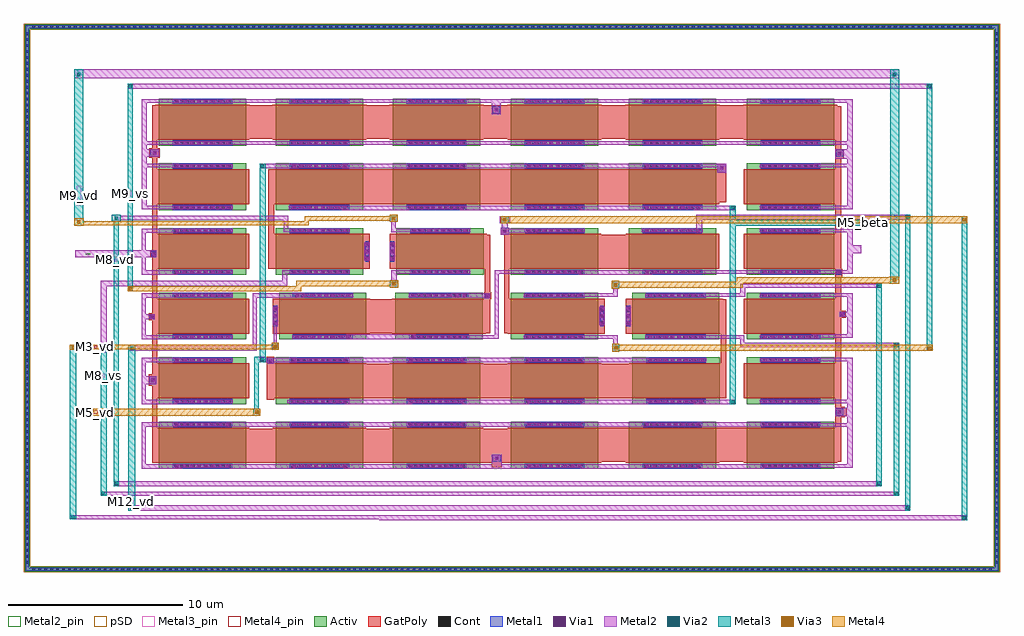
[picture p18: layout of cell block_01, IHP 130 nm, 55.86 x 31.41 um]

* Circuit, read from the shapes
.subckt block_01 M12_vd M3_vd M5_beta M5_vd M8_vd M8_vs M9_vd M9_vs vss
XM1 vss vss vss VSUBS sg13_lv_nmos w=5u l=2u m=20
XM2 M5_vd M5_vd M5_beta VSUBS sg13_lv_nmos w=5u l=2u m=8
XM3 M8_vd M5_vd M8_vs VSUBS sg13_lv_nmos w=5u l=2u m=2
XM4 M12_vd M3_vd vss VSUBS sg13_lv_nmos w=5u l=2u m=2
XM5 M3_vd M3_vd vss VSUBS sg13_lv_nmos w=5u l=2u m=2
XM6 M9_vd M3_vd M9_vs VSUBS sg13_lv_nmos w=5u l=2u m=2
.ends

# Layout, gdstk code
from math import pi, radians
import gdstk
lib = gdstk.Library(unit=1e-6, precision=1e-09)
def R(c, l, rs):  # rectangles x0, y0, x1, y1
    for r in rs: c.add(gdstk.rectangle(r[:2], r[2:], *l))
def A(c, l, x, y, w, h, nx, ny, dx, dy):  # array of equal rectangles
    R(c, l, [(x+i*dx, y+j*dy, x+i*dx+w, y+j*dy+h) for i in range(nx) for j in range(ny)])
Activ = (1, 0)
GatPoly = (5, 0)
Cont = (6, 0)
Metal1 = (8, 0)
Metal2 = (10, 0)
Metal2_pin = (10, 2)
pSD = (14, 0)
Via1 = (19, 0)
Via2 = (29, 0)
Metal3 = (30, 0)
Metal3_pin = (30, 2)
Via3 = (49, 0)
Metal4 = (50, 0)
Metal4_pin = (50, 2)

sg13_lv_nmos_k9lmzd = lib.new_cell('sg13_lv_nmos_K9LMZD')
R(sg13_lv_nmos_k9lmzd, Activ, [(-1.34,-2.5,1.34,2.5)])
R(sg13_lv_nmos_k9lmzd, GatPoly, [(-1,-2.68,1,2.68)])
A(sg13_lv_nmos_k9lmzd, Cont, -1.27, -1.61, 0.16, 0.16, 1, 10, 0, 0.34)
A(sg13_lv_nmos_k9lmzd, Cont, 1.11, -1.61, 0.16, 0.16, 1, 10, 0, 0.34)
R(sg13_lv_nmos_k9lmzd, Metal1, [(-1.34,-1.705,-1.04,1.705), (1.04,-1.705,1.34,1.705)])
R(sg13_lv_nmos_k9lmzd, Metal2, [(-1.29,-1.745,-1.09,1.745), (1.09,-1.745,1.29,1.745)])
A(sg13_lv_nmos_k9lmzd, Via1, -1.285, -1.53, 0.19, 0.19, 1, 8, 0, 0.41)
A(sg13_lv_nmos_k9lmzd, Via1, 1.095, -1.53, 0.19, 0.19, 1, 8, 0, 0.41)
sg13_lv_nmos_k9lmzd.add(gdstk.Label('D', (-1.19,0), layer=8, texttype=25))
sg13_lv_nmos_k9lmzd.add(gdstk.Label('S', (1.19,0), layer=8, texttype=25))

sg13_lv_nmos_k94wzd = lib.new_cell('sg13_lv_nmos_K94WZD')
R(sg13_lv_nmos_k94wzd, Activ, [(-1.34,-2.405,1.34,2.595)])
R(sg13_lv_nmos_k94wzd, GatPoly, [(-1,-2.775,1,2.775)])
A(sg13_lv_nmos_k94wzd, Cont, -0.42, -2.705, 0.16, 0.16, 3, 1, 0.34, 0)
A(sg13_lv_nmos_k94wzd, Cont, -1.27, -1.515, 0.16, 0.16, 1, 10, 0, 0.34)
A(sg13_lv_nmos_k94wzd, Cont, 1.11, -1.515, 0.16, 0.16, 1, 10, 0, 0.34)
R(sg13_lv_nmos_k94wzd, Metal1, [(-0.585,-2.73,0.585,-2.52), (-1.34,-1.61,-1.04,1.8), (1.04,-1.61,1.34,1.8)])
R(sg13_lv_nmos_k94wzd, Metal2, [(-0.535,-2.77,0.535,-2.48), (-1.29,-1.65,-1.09,1.84), (1.09,-1.65,1.29,1.84)])
A(sg13_lv_nmos_k94wzd, Via1, -0.505, -2.72, 0.19, 0.19, 3, 1, 0.41, 0)
A(sg13_lv_nmos_k94wzd, Via1, -1.285, -1.435, 0.19, 0.19, 1, 8, 0, 0.41)
A(sg13_lv_nmos_k94wzd, Via1, 1.095, -1.435, 0.19, 0.19, 1, 8, 0, 0.41)
sg13_lv_nmos_k94wzd.add(gdstk.Label('D', (-1.19,0.095), layer=8, texttype=25))
sg13_lv_nmos_k94wzd.add(gdstk.Label('S', (1.19,0.095), layer=8, texttype=25))
sg13_lv_nmos_k94wzd.add(gdstk.Label('G', (0,-2.625), layer=8, texttype=25))

sg13_lv_nmos_k9ld4e = lib.new_cell('sg13_lv_nmos_K9LD4E')
R(sg13_lv_nmos_k9ld4e, Activ, [(-1.34,-2.595,1.34,2.405)])
R(sg13_lv_nmos_k9ld4e, GatPoly, [(-1,-2.775,1,2.775)])
A(sg13_lv_nmos_k9ld4e, Cont, -1.27, -1.705, 0.16, 0.16, 1, 10, 0, 0.34)
A(sg13_lv_nmos_k9ld4e, Cont, 1.11, -1.705, 0.16, 0.16, 1, 10, 0, 0.34)
A(sg13_lv_nmos_k9ld4e, Cont, -0.42, 2.545, 0.16, 0.16, 3, 1, 0.34, 0)
R(sg13_lv_nmos_k9ld4e, Metal1, [(-1.34,-1.8,-1.04,1.61), (1.04,-1.8,1.34,1.61), (-0.585,2.52,0.585,2.73)])
R(sg13_lv_nmos_k9ld4e, Metal2, [(-1.29,-1.84,-1.09,1.65), (1.09,-1.84,1.29,1.65), (-0.535,2.48,0.535,2.77)])
A(sg13_lv_nmos_k9ld4e, Via1, -1.285, -1.625, 0.19, 0.19, 1, 8, 0, 0.41)
A(sg13_lv_nmos_k9ld4e, Via1, 1.095, -1.625, 0.19, 0.19, 1, 8, 0, 0.41)
A(sg13_lv_nmos_k9ld4e, Via1, -0.505, 2.53, 0.19, 0.19, 3, 1, 0.41, 0)
sg13_lv_nmos_k9ld4e.add(gdstk.Label('D', (-1.19,-0.095), layer=8, texttype=25))
sg13_lv_nmos_k9ld4e.add(gdstk.Label('S', (1.19,-0.095), layer=8, texttype=25))
sg13_lv_nmos_k9ld4e.add(gdstk.Label('G', (0,2.625), layer=8, texttype=25))

block_01 = lib.new_cell('block_01')
R(block_01, Activ, [(-37.2,-29.35,18.6,-29.05), (-37.2,-29.05,-36.9,1.7), (18.3,-29.05,18.6,1.7), (-37.2,1.7,18.6,2)])
A(block_01, GatPoly, -24.45, -23.1, 1.6, 1.95, 3, 1, 6.7, 0)
A(block_01, GatPoly, -11.05, -4.55, 1.65, 1.9, 3, 1, 6.75, 0)
R(block_01, GatPoly, [(-10.45,-23.35,-9.9,-23.1), (-29.9,-23.1,-29.6,-18.7), (-4.3,-23.05,-2.7,-21.1), (2.45,-23.05,4.05,-21.1), (9.2,-23.05,9.55,-20.5), (9.2,-20.5,9.75,-20.45), (9.2,-20.45,9.85,-19.95), (9.2,-19.95,9.75,-19.9), (9.2,-19.9,9.55,-14.8), (-23.35,-19.5,-22.9,-17.05), (-17.75,-19.4,-16.15,-17.45), (-11.05,-19.4,-9.4,-17.45), (-4.3,-19.4,-2.5,-17.45), (2.65,-19.4,2.95,-13.75), (-30.1,-18.7,-29.6,-18.05), (-29.9,-18.05,-29.6,-14.95), (-17.55,-15.7,-16,-13.75), (-10.85,-15.7,-10.55,-13.75), (-9.75,-15.7,-9.45,-10.05), (-30.1,-14.95,-29.6,-14.55), (9.2,-14.8,9.8,-14.4), (-29.9,-14.55,-29.6,-11.35), (9.2,-14.4,9.55,-12.45), (-10.9,-13.75,-10.5,-13.35), (-10.85,-13.35,-10.55,-10.05), (9.2,-12.45,9.6,-12), (-23.25,-12,-22.9,-6.3), (-4.3,-12,-2.7,-10.05), (9.2,-12,9.55,-5.7), (-30,-11.35,-29.6,-10.95), (-29.9,-10.95,-29.6,-5.65), (-9.95,-10.05,-9.45,-9.65), (-17.75,-8.3,-16.2,-6.3), (-11.05,-8.3,-9.45,-6.3), (-4.25,-8.3,-2.7,-6.3), (2.45,-8.2,2.95,-6), (9.2,-5.7,9.7,-5.15), (-30.05,-5.65,-29.45,-5.1), (9.2,-5.15,9.55,-2.7), (-29.9,-5.1,-29.6,-2.65), (-24.4,-4.55,-22.9,-2.65), (-17.75,-4.55,-16.1,-2.65)])
A(block_01, Cont, -36.75, -29.28, 0.16, 0.16, 162, 2, 0.34, 31.05)
A(block_01, Cont, -37.13, -28.885, 0.16, 0.16, 1, 90, 0, 0.34)
A(block_01, Cont, 18.37, -28.885, 0.16, 0.16, 1, 90, 0, 0.34)
R(block_01, Cont, [(-10.255,-22.93,-10.095,-22.77), (9.37,-20.28,9.53,-20.12), (-29.93,-18.455,-29.77,-18.295), (-23.205,-17.355,-23.045,-17.195), (-29.98,-14.83,-29.82,-14.67), (9.52,-14.68,9.68,-14.52), (-10.78,-13.63,-10.62,-13.47), (9.32,-12.28,9.48,-12.12), (-29.88,-11.23,-29.72,-11.07), (-9.805,-9.93,-9.645,-9.77), (2.62,-6.305,2.78,-6.145), (9.37,-5.48,9.53,-5.32), (-29.83,-5.455,-29.67,-5.295), (-10.28,-2.98,-10.12,-2.82)])
R(block_01, Metal1, [(-37.13,-29.28,18.53,-29.12), (-37.13,-29.12,-36.97,1.77), (18.37,-29.12,18.53,1.77), (-10.4,-23.05,-9.95,-22.65), (9.25,-20.4,9.65,-20), (-30.05,-18.6,-29.65,-18.15), (-23.3,-17.45,-22.95,-17.1), (-30.05,-14.9,-29.75,-14.6), (9.45,-14.75,9.75,-14.45), (-10.85,-13.7,-10.55,-13.4), (9.25,-12.35,9.55,-12.05), (-29.95,-11.3,-29.65,-11), (-9.95,-10.05,-9.45,-9.65), (2.45,-6.5,2.95,-6), (-30,-5.6,-29.5,-5.15), (9.25,-5.6,9.65,-5.2), (-10.4,-3.1,-10,-2.7), (-37.13,1.77,18.53,1.93)])
R(block_01, Metal2, [(-16.9,-26.4,16.75,-26.35), (-34.6,-26.35,16.75,-26.1), (-31.25,-25.85,13.5,-25.55), (-32.85,-25,12.85,-24.75), (-32.1,-24.45,11.85,-24.15), (-30.5,-23.45,-28.2,-23.2), (-25.45,-23.45,-21.7,-23.2), (-18.9,-23.45,-15.15,-23.2), (-12.1,-23.45,-8.35,-23.2), (-5.35,-23.45,-1.6,-23.2), (1.35,-23.45,5.1,-23.2), (7.75,-23.4,10.2,-23.2), (-30.5,-23.2,-30.25,-21.05), (-10.45,-23.2,-9.9,-22.65), (9.9,-23.2,10.2,-21.05), (-30.5,-21.05,-28.45,-20.8), (-25.65,-21.05,-21.9,-20.8), (-18.85,-21.05,-15.1,-20.8), (-12.2,-21.05,-8.45,-20.8), (-5.35,-21.05,-1.6,-20.8), (1.35,-21.05,5.1,-20.8), (7.75,-21.05,10.2,-20.85), (9.9,-20.85,10.2,-20.45), (9.2,-20.45,10.2,-19.95), (9.9,-19.95,10.2,-19.7), (-30.5,-19.75,-28.45,-19.5), (-18.85,-19.75,-15,-19.5), (-12.15,-19.75,-8.3,-19.5), (-5.35,-19.75,-1.5,-19.5), (1.1,-19.75,3.5,-19.5), (-22.15,-19.7,-21.85,-19.5), (7.75,-19.7,10.2,-19.5), (-30.5,-19.5,-30.25,-18.6), (9.9,-19.5,10.2,-17.3), (-30.5,-18.6,-29.65,-18.15), (-30.5,-18.15,-30.25,-17.35), (-23.3,-17.45,-22.95,-17.35), (-30.5,-17.35,-28.35,-17.1), (-23.75,-17.35,-21.65,-17.3), (-18.85,-17.35,-15,-17.1), (-12.2,-17.35,-8.35,-17.1), (-5.35,-17.35,-1.5,-17.1), (-23.75,-17.3,-20.9,-17.15), (7.95,-17.3,10.2,-17.1), (-23.75,-17.15,-21.65,-17.1), (-23.75,-17.1,-23.4,-17.05), (-32.85,-16.8,-32.5,-13), (-3.55,-16.75,-3.15,-16.3), (-31.25,-16.7,-23.9,-16.35), (-23,-16.6,-22.7,-16.3), (3.75,-16.5,12.85,-16.25), (-24.15,-16.35,-23.9,-13.65), (-22.95,-16.3,-22.75,-14.9), (-3.5,-16.3,-3.25,-16), (3.75,-16.25,4,-16), (-30.5,-16.05,-28.4,-15.8), (-18.8,-16.05,-14.8,-15.75), (-11.75,-16,-10.05,-15.8), (-5.4,-16,-3.25,-15.8), (1.6,-16,4,-15.8), (7.85,-15.95,10.2,-15.75), (-30.5,-15.8,-30.25,-14.9), (-10.3,-15.8,-10.05,-12.3), (9.9,-15.75,10.2,-14.75), (-30.5,-14.9,-29.75,-14.6), (9.45,-14.75,10.2,-14.45), (-30.5,-14.6,-30.25,-13.65), (9.9,-14.45,10.2,-13.6), (-10.9,-13.7,-10.55,-13.65), (-30.5,-13.65,-28.45,-13.4), (-24.15,-13.65,-21.2,-13.4), (-12.75,-13.65,-10.55,-13.4), (-5.45,-13.6,-3.25,-13.4), (1.65,-13.6,4.05,-13.4), (7.85,-13.6,10.2,-13.4), (-3.5,-13.4,-3.25,-13.15), (3.75,-13.4,4.05,-13.1), (-3.6,-13.15,-3.15,-12.7), (-16.3,-13.1,-15.8,-12.65), (3.75,-13.1,11.85,-12.85), (-32.85,-13,-22.15,-12.7), (-22.45,-12.7,-22.15,-12.3), (-16.2,-12.65,-15.9,-12.3), (-30.5,-12.35,-28.45,-12.1), (-5.45,-12.35,-1.3,-12.1), (-22.45,-12.3,-21.15,-12.1), (-16.2,-12.3,-14.8,-12.1), (-10.3,-12.3,-8.5,-12.1), (1.2,-12.3,5.2,-12.1), (7.85,-12.3,10.2,-12.1), (-30.5,-12.1,-30.25,-11.35), (9.9,-12.1,10.2,-11.1), (-34.3,-11.35,-29.65,-10.95), (9.9,-11.1,10.7,-10.65), (-30.5,-10.95,-30.25,-9.95), (9.9,-10.65,10.2,-9.9), (-9.95,-10.05,-9.45,-9.95), (-30.5,-9.95,-28.45,-9.7), (-9.95,-9.95,-7.9,-9.7), (1.25,-9.95,1.6,-9.2), (-22.35,-9.9,-21.35,-9.7), (-16.2,-9.9,-14.15,-9.7), (7.95,-9.9,10.2,-9.7), (-22.35,-9.7,-22.1,-9.225), (-16.2,-9.7,-15.95,-9.3), (-9.95,-9.7,-9.45,-9.65), (-9.9,-9.65,-9.55,-9.4), (-10,-9.4,-9.4,-9), (-32.2,-9.3,-31.7,-9.225), (-16.3,-9.3,-15.85,-8.9), (-32.2,-9.225,-22.1,-8.975), (1.25,-9.2,13.5,-8.9), (-32.2,-8.975,-31.7,-8.9), (-19.05,-8.65,-15.2,-8.4), (-12.3,-8.65,-8.45,-8.4), (-5.45,-8.65,-1.6,-8.4), (1.1,-8.65,3.5,-8.4), (-30.5,-8.6,-28.35,-8.4), (8,-8.6,10.2,-8.4), (-30.5,-8.4,-30.2,-6.2), (9.9,-8.4,10.2,-6.2), (2.45,-6.5,2.95,-6.2), (-23.75,-6.25,-21.5,-6), (-19,-6.25,-15.15,-6), (-12.3,-6.25,-8.45,-6), (-5.35,-6.25,-1.5,-6), (-30.5,-6.2,-28.4,-6), (1.45,-6.2,2.95,-6), (8,-6.2,10.2,-6), (-30.5,-6,-30.2,-5.6), (9.9,-6,10.2,-5.7), (9.2,-5.7,10.2,-5.15), (-30.5,-5.6,-29.5,-5.15), (-30.5,-5.15,-30.2,-4.9), (9.9,-5.15,10.2,-4.9), (-30.5,-4.9,-28.55,-4.7), (-25.65,-4.9,-21.7,-4.7), (-18.95,-4.9,-15,-4.7), (-12.4,-4.9,-8.45,-4.7), (-5.5,-4.9,-1.55,-4.7), (1.35,-4.9,5.3,-4.7), (8.05,-4.9,10.2,-4.7), (-30.5,-4.7,-30.2,-2.5), (9.9,-4.7,10.2,-2.5), (-10.45,-3.15,-9.95,-2.5), (-30.5,-2.5,-28.25,-2.3), (-25.7,-2.5,-21.75,-2.3), (-19,-2.5,-15.05,-2.3), (-12.25,-2.5,-8.3,-2.3), (-5.35,-2.5,-1.4,-2.3), (1.35,-2.5,5.3,-2.3), (7.5,-2.5,10.2,-2.3), (-31.3,-1.7,14.75,-1.4), (-34.36,-1.11,12.86,-0.59)])
R(block_01, Metal2_pin, [(-33.7,-11.2,-33.45,-11.1)])
R(block_01, pSD, [(-37.23,-29.38,18.63,-29.02), (-37.23,-29.02,-36.87,1.67), (18.27,-29.02,18.63,1.67), (-37.23,1.67,18.63,2.03)])
R(block_01, Via1, [(-10.27,-22.945,-10.08,-22.755), (9.355,-20.295,9.545,-20.105), (-29.945,-18.47,-29.755,-18.28), (-23.22,-17.37,-23.03,-17.18), (-29.995,-14.845,-29.805,-14.655), (9.505,-14.695,9.695,-14.505), (-10.795,-13.645,-10.605,-13.455), (9.305,-12.295,9.495,-12.105), (-29.895,-11.245,-29.705,-11.055), (-9.82,-9.945,-9.63,-9.755), (2.605,-6.32,2.795,-6.13), (9.355,-5.495,9.545,-5.305), (-29.845,-5.47,-29.655,-5.28), (-10.295,-2.995,-10.105,-2.805)])
R(block_01, Via2, [(16.505,-26.345,16.695,-26.155), (-34.52,-26.32,-34.33,-26.13), (-31.145,-25.795,-30.955,-25.605), (13.255,-25.795,13.445,-25.605), (-32.795,-24.945,-32.605,-24.755), (12.605,-24.945,12.795,-24.755), (-32.045,-24.395,-31.855,-24.205), (11.605,-24.395,11.795,-24.205), (3.255,-19.72,3.445,-19.53), (-23.695,-17.295,-23.505,-17.105), (-32.795,-16.695,-32.605,-16.505), (-31.145,-16.645,-30.955,-16.455), (-3.445,-16.62,-3.255,-16.43), (-22.945,-16.545,-22.755,-16.355), (12.605,-16.495,12.795,-16.305), (11.605,-13.095,11.795,-12.905), (-3.47,-13.02,-3.28,-12.83), (-16.145,-12.945,-15.955,-12.755), (-9.82,-9.295,-9.63,-9.105), (-32.045,-9.22,-31.855,-9.03), (-16.17,-9.22,-15.98,-9.03), (13.255,-9.145,13.445,-8.955), (3.255,-8.595,3.445,-8.405), (-23.67,-6.245,-23.48,-6.055), (-31.245,-1.645,-31.055,-1.455), (14.505,-1.645,14.695,-1.455), (-34.195,-0.97,-34.005,-0.78), (12.505,-0.97,12.695,-0.78)])
R(block_01, Metal3, [(16.45,-26.4,16.75,-9), (-34.6,-26.35,-34.25,-16.35), (-31.25,-25.85,-30.85,-16.35), (13.2,-25.85,13.5,-8.9), (-32.85,-25,-32.5,-16.45), (12.55,-25,12.85,-16.25), (-32.1,-24.45,-31.8,-9.3), (11.55,-24.45,11.85,-12.85), (-24.1,-20.4,-23.7,-20), (-24.05,-20,-23.8,-17.35), (3.15,-19.75,3.5,-9.55), (-24.05,-17.35,-23.4,-17.05), (-23.725,-17.05,-23.4,-16.75), (-23.75,-16.75,-23.4,-6), (-3.55,-16.75,-3.15,-16.3), (-23.05,-16.65,-22.65,-16.25), (14.45,-16.65,14.75,-1.4), (-31.3,-13.3,-31,-1.4), (-3.6,-13.15,-3.15,-12.7), (-16.3,-13.1,-15.8,-12.65), (12.34,-12.86,12.86,-0.59), (-34.35,-9.55,-33.8,-9.41), (3.15,-9.55,10.965,-9.2), (-34.36,-9.41,-33.8,-9.1), (-9.95,-9.4,-9.5,-9), (-32.2,-9.3,-31.7,-8.9), (-16.3,-9.3,-15.85,-8.9), (3.15,-9.2,3.5,-8.4), (-34.36,-9.1,-33.84,-0.59)])
R(block_01, Metal3_pin, [(-31.2,-25.45,-30.95,-25.25), (-32.75,-18.2,-32.6,-18), (-32.05,-11.6,-31.9,-11.4), (10.615,-9.55,10.965,-9.2), (-34.2,-8.4,-33.95,-7.25), (-31.2,-7.85,-31.1,-7.55)])
R(block_01, Via3, [(-23.995,-20.295,-23.805,-20.105), (14.505,-16.645,14.695,-16.455), (-3.445,-16.62,-3.255,-16.43), (-34.495,-16.595,-34.305,-16.405), (-22.945,-16.545,-22.755,-16.355), (-31.245,-13.245,-31.055,-13.055), (-3.47,-13.02,-3.28,-12.83), (-16.145,-12.945,-15.955,-12.755), (12.505,-12.745,12.695,-12.555), (-34.195,-9.42,-34.005,-9.23), (-9.82,-9.295,-9.63,-9.105), (16.505,-9.295,16.695,-9.105), (-16.17,-9.22,-15.98,-9.03)])
R(block_01, Metal4, [(-33.3,-20.4,-23.7,-20), (-3.55,-16.75,-3.15,-16.7), (-3.55,-16.7,14.775,-16.35), (-34.6,-16.65,-34.25,-16.6), (-23.05,-16.65,-22.65,-16.6), (-34.6,-16.6,-22.65,-16.35), (-23.05,-16.35,-22.65,-16.25), (-3.55,-16.35,-3.15,-16.3), (-31.3,-13.3,-21.35,-13), (-3.6,-13.15,-3.15,-13.1), (-16.3,-13.1,-15.8,-13), (-3.6,-13.1,-1.7,-13.095), (-3.6,-13.095,3.92,-12.825), (-21.65,-13,-15.8,-12.7), (12.3,-12.85,12.85,-12.825), (-3.6,-12.825,12.85,-12.75), (-3.6,-12.75,-3.15,-12.7), (3.575,-12.75,12.85,-12.48), (-16.3,-12.7,-15.8,-12.65), (12.3,-12.48,12.85,-12.45), (-34.35,-9.55,-33.8,-9.525), (-34.35,-9.525,-20.925,-9.275), (-9.95,-9.4,16.75,-9), (-16.3,-9.3,-15.85,-9.25), (-34.35,-9.275,-33.8,-9.1), (-21.175,-9.275,-20.925,-9.25), (-21.175,-9.25,-15.85,-9), (-16.3,-9,-15.85,-8.9)])
R(block_01, Metal4_pin, [(-33.25,-20.3,-33,-20.1), (-33.2,-16.55,-33.05,-16.4)])
block_01.add(gdstk.Reference(sg13_lv_nmos_k9lmzd, (-27.02,-18.41), rotation=3*pi/2))
block_01.add(gdstk.Reference(sg13_lv_nmos_k9lmzd, (-27.02,-22.11), rotation=3*pi/2))
block_01.add(gdstk.Reference(sg13_lv_nmos_k9lmzd, (-20.32,-18.41), rotation=3*pi/2))
block_01.add(gdstk.Reference(sg13_lv_nmos_k9lmzd, (-20.32,-22.11), rotation=3*pi/2))
block_01.add(gdstk.Reference(sg13_lv_nmos_k9lmzd, (-13.62,-18.41), rotation=3*pi/2))
block_01.add(gdstk.Reference(sg13_lv_nmos_k9lmzd, (-13.62,-22.11), rotation=3*pi/2))
block_01.add(gdstk.Reference(sg13_lv_nmos_k9lmzd, (-6.87,-18.41), rotation=3*pi/2))
block_01.add(gdstk.Reference(sg13_lv_nmos_k9lmzd, (-6.87,-22.11), rotation=3*pi/2))
block_01.add(gdstk.Reference(sg13_lv_nmos_k9lmzd, (0.08,-18.41), rotation=3*pi/2))
block_01.add(gdstk.Reference(sg13_lv_nmos_k9lmzd, (-0.12,-22.11), rotation=3*pi/2))
block_01.add(gdstk.Reference(sg13_lv_nmos_k9lmzd, (6.63,-22.11), rotation=3*pi/2))
block_01.add(gdstk.Reference(sg13_lv_nmos_k9lmzd, (6.63,-18.41), rotation=3*pi/2))
block_01.add(gdstk.Reference(sg13_lv_nmos_k9lmzd, (-27.02,-14.71), rotation=3*pi/2))
block_01.add(gdstk.Reference(sg13_lv_nmos_k94wzd, (-20.225,-14.71), rotation=3*pi/2))
block_01.add(gdstk.Reference(sg13_lv_nmos_k9lmzd, (-13.47,-14.71), rotation=3*pi/2))
block_01.add(gdstk.Reference(sg13_lv_nmos_k9ld4e, (-6.775,-14.71), rotation=3*pi/2))
block_01.add(gdstk.Reference(sg13_lv_nmos_k94wzd, (-0.025,-14.71), rotation=3*pi/2))
block_01.add(gdstk.Reference(sg13_lv_nmos_k9lmzd, (6.63,-14.71), rotation=3*pi/2))
block_01.add(gdstk.Reference(sg13_lv_nmos_k9lmzd, (-27.02,-7.31), rotation=3*pi/2))
block_01.add(gdstk.Reference(sg13_lv_nmos_k9lmzd, (-27.02,-11.01), rotation=3*pi/2))
block_01.add(gdstk.Reference(sg13_lv_nmos_k9ld4e, (-20.225,-11.01), rotation=3*pi/2))
block_01.add(gdstk.Reference(sg13_lv_nmos_k9lmzd, (-20.32,-7.31), rotation=3*pi/2))
block_01.add(gdstk.Reference(sg13_lv_nmos_k9lmzd, (-13.62,-7.31), rotation=3*pi/2))
block_01.add(gdstk.Reference(sg13_lv_nmos_k94wzd, (-13.525,-11.01), rotation=3*pi/2))
block_01.add(gdstk.Reference(sg13_lv_nmos_k9lmzd, (-6.87,-7.31), rotation=3*pi/2))
block_01.add(gdstk.Reference(sg13_lv_nmos_k9lmzd, (-6.87,-11.01), rotation=3*pi/2))
block_01.add(gdstk.Reference(sg13_lv_nmos_k9lmzd, (-0.12,-11.01), rotation=3*pi/2))
block_01.add(gdstk.Reference(sg13_lv_nmos_k9lmzd, (-0.12,-7.31), rotation=3*pi/2))
block_01.add(gdstk.Reference(sg13_lv_nmos_k9lmzd, (6.63,-11.01), rotation=3*pi/2))
block_01.add(gdstk.Reference(sg13_lv_nmos_k9lmzd, (6.63,-7.31), rotation=3*pi/2))
block_01.add(gdstk.Reference(sg13_lv_nmos_k9lmzd, (-27.02,-3.61), rotation=3*pi/2))
block_01.add(gdstk.Reference(sg13_lv_nmos_k9lmzd, (-20.32,-3.61), rotation=3*pi/2))
block_01.add(gdstk.Reference(sg13_lv_nmos_k9lmzd, (-13.62,-3.61), rotation=3*pi/2))
block_01.add(gdstk.Reference(sg13_lv_nmos_k9lmzd, (-6.87,-3.61), rotation=3*pi/2))
block_01.add(gdstk.Reference(sg13_lv_nmos_k9lmzd, (-0.12,-3.61), rotation=3*pi/2))
block_01.add(gdstk.Reference(sg13_lv_nmos_k9lmzd, (6.63,-3.61), rotation=3*pi/2))
block_01.add(gdstk.Label('M5_beta', (10.79,-9.375), layer=30, texttype=25))
block_01.add(gdstk.Label('M5_vd', (-33.125,-20.2), layer=50, texttype=25))
block_01.add(gdstk.Label('M8_vd', (-31.975,-11.5), layer=30, texttype=25))
block_01.add(gdstk.Label('M8_vs', (-32.675,-18.1), layer=30, texttype=25))
block_01.add(gdstk.Label('M9_vd', (-34.075,-7.825), layer=30, texttype=25))
block_01.add(gdstk.Label('M9_vs', (-31.15,-7.7), layer=30, texttype=25))
block_01.add(gdstk.Label('M3_vd', (-33.125,-16.475), layer=50, texttype=25))
block_01.add(gdstk.Label('vss', (-33.575,-11.15), layer=10, texttype=25))
block_01.add(gdstk.Label('M12_vd', (-31.075,-25.35), layer=30, texttype=25))

lib.write_gds('block_01.gds')
